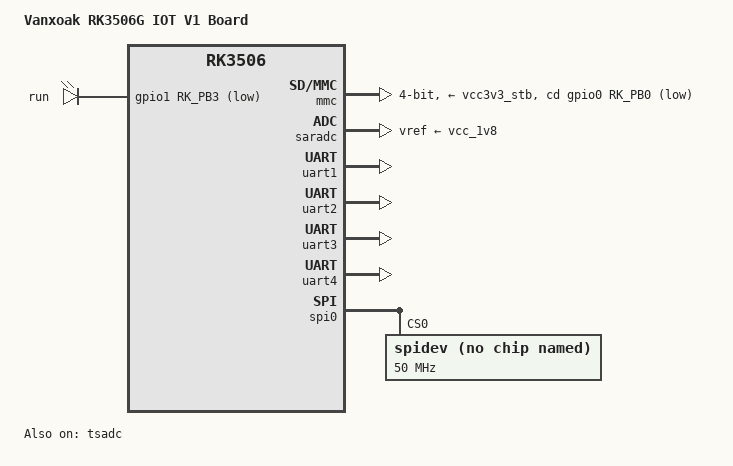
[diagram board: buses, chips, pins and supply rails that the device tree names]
// SPDX-License-Identifier: (GPL-2.0+ OR MIT)
/*
 * Copyright (c) 2024 Rockchip Electronics Co., Ltd.
 */

/dts-v1/;

#include "rk3506.dtsi"
//#include "rk3502.dtsi"
#include "vanxoak-hd-rk3506-iot-v1.dtsi"
#include "vanxoak-hd-rk3506-iot-rgb-800x480.dtsi"
//#include "vanxoak-hd-rk3506-iot-rgb-1024x600.dtsi"

/ {
	model = "Vanxoak RK3506G IOT V1 Board";
	compatible = "rockchip,rk3506g-iot-v1", "rockchip,rk3506";
	
	// LED
	leds {
		compatible = "gpio-leds";
		status = "okay";
		heart_led {
			label = "run";
			gpios = <&gpio1 RK_PB3 GPIO_ACTIVE_LOW>;
			linux,default-trigger = "heartbeat";
			default-state = "off";
		};
	};

	reserved-memory {
		#address-cells = <1>;
		#size-cells = <1>;
		ranges;


		drm_logo: drm-logo@0 {
			compatible = "rockchip,drm-logo";
			reg = <0x0 0x0>;
		};
	};
};

&mmc {
    max-frequency = <150000000>;
	supports-sd;
	bus-width = <4>;
	cd-gpios = <&gpio0 RK_PB0 GPIO_ACTIVE_LOW>;
	//cap-mmc-highspeed;
	cap-sd-highspeed;
	disable-wp;
	//sd-uhs-sdr104;
	vmmc-supply = <&vcc3v3_stb>;
	vqmmc-supply = <&vcc3v3_stb>;
	pinctrl-names = "default";
	pinctrl-0 = <&sdmmc_clk_pins &sdmmc_cmd_pins &sdmmc_bus4_pins &sdmmc_det_pins>;
	status = "okay";
};

&tsadc {
	status = "okay";
};

&saradc {
	vref-supply = <&vcc_1v8>;
	status = "okay";
};

&uart1 {
	pinctrl-names = "default";
	pinctrl-0 = <&rm_io16_uart1_rx &rm_io17_uart1_tx>;
	status = "okay";
};

&uart2 {
	pinctrl-names = "default";
	pinctrl-0 = <&rm_io0_uart2_rx &rm_io2_uart2_tx>;
	status = "okay";
};

&uart3 {
	pinctrl-names = "default";
	pinctrl-0 = <&rm_io15_uart3_rx &rm_io14_uart3_tx>;
	status = "okay";
};

&uart4 {
	pinctrl-names = "default";
	pinctrl-0 = <&rm_io30_uart4_rx &rm_io31_uart4_tx>;
	status = "okay";
};

&pinctrl {
    spi-slave-gpio {
        spi_irq_pin: spi-irq-pin {
            // RK_PC2 对应 GPIO0_C2
            rockchip,pins = <0 RK_PC2 RK_FUNC_GPIO &pcfg_pull_down>;
        };
    };
};

&spi0 {
       pinctrl-names = "default";
       //pinctrl-0 = <&rm_io7_spi0_csn0 &rm_io3_spi0_mosi &rm_io6_spi0_miso &rm_io1_spi0_clk &spi_irq_pin>;
       pinctrl-0 = <&rm_io7_spi0_csn0 &rm_io3_spi0_mosi &rm_io6_spi0_miso &rm_io1_spi0_clk >;
       status = "okay";

    spidev@0 {
        compatible = "rockchip,spidev";
        reg = <0>;
        spi-max-frequency = <50000000>;
        status = "okay";
    };
};



